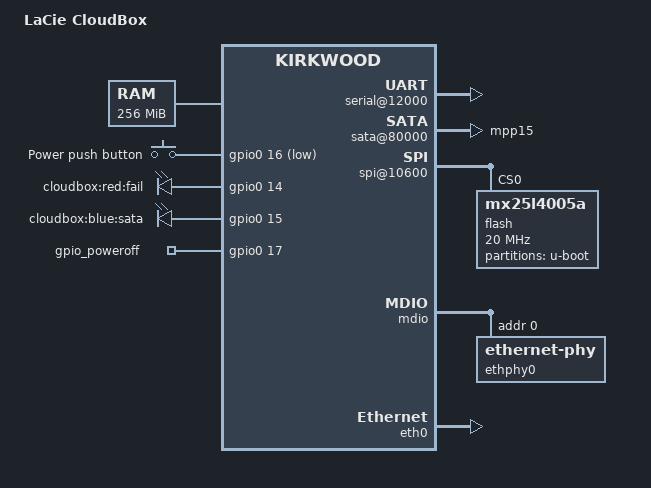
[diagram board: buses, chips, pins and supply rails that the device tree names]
/dts-v1/;

#include "kirkwood.dtsi"
#include "kirkwood-6281.dtsi"

/ {
	model = "LaCie CloudBox";
	compatible = "lacie,cloudbox", "marvell,kirkwood-88f6702", "marvell,kirkwood";

	memory {
		device_type = "memory";
		reg = <0x00000000 0x10000000>;
	};

	chosen {
		bootargs = "console=ttyS0,115200n8";
	};

	ocp@f1000000 {
		pinctrl: pinctrl@10000 {
			pmx_cloudbox_sata0: pmx-cloudbox-sata0 {
				marvell,pins = "mpp15";
				marvell,function = "sata0";
			};
		};

		serial@12000 {
			pinctrl-0 = <&pmx_uart0>;
			pinctrl-names = "default";
			clock-frequency = <166666667>;
			status = "okay";
		};

		sata@80000 {
			pinctrl-0 = <&pmx_cloudbox_sata0>;
			pinctrl-names = "default";
			status = "okay";
			nr-ports = <1>;
		};

		spi@10600 {
			pinctrl-0 = <&pmx_spi>;
			pinctrl-names = "default";
			status = "okay";

			flash@0 {
				#address-cells = <1>;
				#size-cells = <1>;
				compatible = "mx25l4005a";
				reg = <0>;
				spi-max-frequency = <20000000>;
				mode = <0>;

				partition@0 {
					reg = <0x0 0x80000>;
					label = "u-boot";
				};
			};
		};
	};

	gpio_keys {
		compatible = "gpio-keys";
		#address-cells = <1>;
		#size-cells = <0>;

		button@1 {
			label = "Power push button";
			linux,code = <116>;
			gpios = <&gpio0 16 1>;
		};
	};

	gpio-leds {
		compatible = "gpio-leds";

		red-fail {
			label = "cloudbox:red:fail";
			gpios = <&gpio0 14 0>;
		};
		blue-sata {
			label = "cloudbox:blue:sata";
			gpios = <&gpio0 15 0>;
		};
	};

	gpio_poweroff {
		compatible = "gpio-poweroff";
		gpios = <&gpio0 17 0>;
	};
};

&mdio {
	status = "okay";

	ethphy0: ethernet-phy@0 {
		device_type = "ethernet-phy";
		reg = <0>;
	};
};

&eth0 {
	status = "okay";
	ethernet0-port@0 {
		phy-handle = <&ethphy0>;
	};
};
